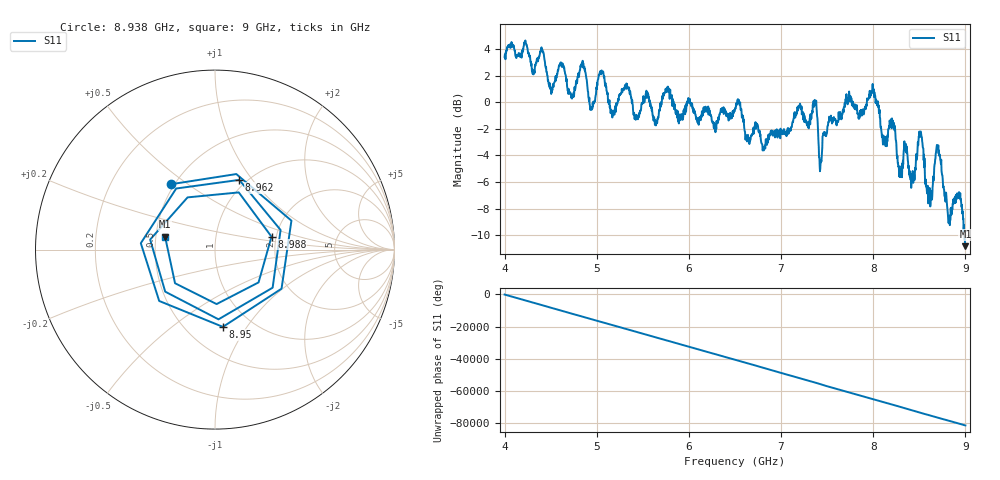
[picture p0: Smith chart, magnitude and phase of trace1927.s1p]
! Created with skrf 1.8.0 (http://scikit-rf.org).
# Hz S RI R 50.0
!freq ReS11 ImS11
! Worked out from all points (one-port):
!   1601 points, 4 GHz to 9 GHz, reference 50 ohm
!   lowest |S11| = -10.8 dB at 9 GHz (marker M1), VSWR 1.81, Z = 28 + j4.42 ohm
!   |S11| at or under -10 dB: 8.989032 GHz to end of sweep
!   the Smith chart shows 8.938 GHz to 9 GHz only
!   S11 on the Smith chart (normalised r, x): 8.938 GHz: 0.48, +0.43; 8.95 GHz: 0.74, -0.78; 8.962 GHz: 0.92, +0.86; 8.988 GHz: 1.89, +0.30; 9 GHz: 0.56, +0.09
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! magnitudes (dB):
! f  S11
! 4 GHz  3.4
! 4.625 GHz  2.9
! 4.728 GHz  0.5
! 4.85 GHz  2.6
! 4.947 GHz  -0.4
! 5.047 GHz  2.1
! 5.166 GHz  -0.8
! 5.25 GHz  0.6
! 5.875 GHz  -1.2
! 6.5 GHz  -0.5
! 6.806 GHz  -3.4
! 7.125 GHz  -1.5
! 7.369 GHz  -0.2
! 7.428 GHz  -4.6
! 7.75 GHz  0.1
! 7.997 GHz  1.1
! 8.112 GHz  -3.1
! 8.375 GHz  -4.4
! 8.428 GHz  -5.2
! 8.516 GHz  -2.2
! 8.6 GHz  -6.8
! 8.7 GHz  -3.3
! 8.825 GHz  -8.7
! 8.938 GHz  -7.2
! 8.95 GHz  -7.3
! 8.962 GHz  -7.7
! 8.988 GHz  -9.8
! 9 GHz  -10.8
